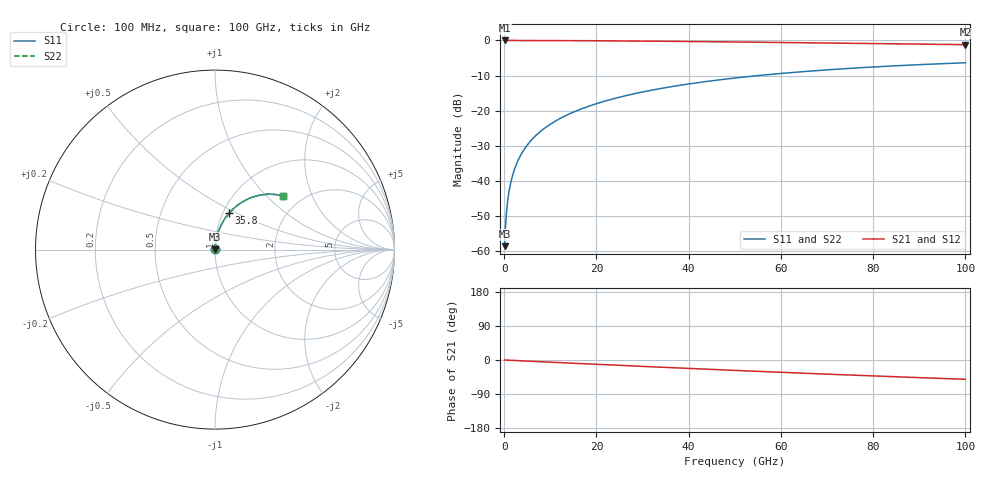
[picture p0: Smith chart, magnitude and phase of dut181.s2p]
! Touchstone file exported from HFSS 2026.1.0
!  File:  C:/ffzhzh/LocalFiles/Ansys_Project_Files/temp_train_RDL_181_1783500386_9504.aedt
!  Generated:  04:47:29 PM Jul  8, 2026
!  Design:  RDL
!  Project:  temp_train_RDL_181_1783500386_9504
! Variables:
!  h_bsmrdl = 2um
!  h_ox = 20um
!  h_rdl = 5um
!  h_sub = 80um
!  h_tmrdl = 2.6um
!  h_tsv = 80um
!  h_via = 3um
!  l_bsmrdl = 300um
!  l_sub = 512.68um
!  l_tmrdl = 112.68um
!  m_sub = 200um
!  pitch = 54.1um
!  r_tsv = 6um
!  s_tmrdl = 10um
!  w_bsmrdl = 18um
!  w_sub = 500um
!  w_tmrdl = 24.89um
!  x_tsv_center1 = 125.125um
!  x_tsv_center2 = 443.125um
!  x_tsv_center3 = 580.695um
!  x_tsv_center4 = 898.695um
!  x_tsv_center5 = 1036.265um
!  x_tsv_center6 = 1354.265um
# GHz S MA R 50.000000
! Terminal data exported
! Port[1] = TM_RDL1_1_T1
! Port[2] = TM_RDL1_1_T2
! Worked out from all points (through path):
!   1000 points, 100 MHz to 100 GHz, reference 50 ohm
!   highest |S21| = -0.01 dB at 100 MHz (marker M1); lowest = -1.2 dB at 100 GHz (marker M2)
!   group delay of S21, straight-line fit = 1.42 ps
!   lowest |S11| = -58.5 dB at 100 MHz (marker M3), VSWR 1.00, Z = 50.1 + j0.0706 ohm
!   |S11| at or under -10 dB: start of sweep to 55.05 GHz
!   |S22| runs from -58.5 to -6.4 dB; largest |S21 - S12| = 4.4e-15
!   S11 on the Smith chart (normalised r, x): 100 MHz: 1.00, +0.00; 35.8 GHz: 1.07, +0.46; 100 GHz: 1.61, +1.25
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0.1  0.001186 36.4  0.999 -0.1  0.999 -0.1  0.001186 36.4
! Gamma 0 0 0 0
! Port Impedance 50 0 50 0
0.3  0.002314 63.7  0.999 -0.2  0.999 -0.2  0.002314 63.7
0.7  0.004827 76.0  0.9989 -0.4  0.9989 -0.4  0.004827 76.0
0.9  0.006092 78.4  0.9988 -0.5  0.9988 -0.5  0.006092 78.4
1.2  0.008 80.6  0.9988 -0.7  0.9988 -0.7  0.008 80.6
1.5  0.009919 82.0  0.9987 -0.9  0.9987 -0.9  0.009919 82.0
2  0.01313 83.3  0.9986 -1.2  0.9986 -1.2  0.01313 83.3
2.5  0.01635 84.0  0.9986 -1.4  0.9986 -1.4  0.01635 84.0
3.2  0.02086 84.4  0.9984 -1.9  0.9984 -1.9  0.02086 84.4
4  0.02601 84.6  0.9982 -2.3  0.9982 -2.3  0.02601 84.6
5  0.03244 84.5  0.998 -2.9  0.998 -2.9  0.03244 84.5
6.1  0.03949 84.1  0.9976 -3.5  0.9976 -3.5  0.03949 84.1
8.9  0.05731 83.0  0.9964 -5.1  0.9964 -5.1  0.05731 83.0
12.4  0.07932 81.2  0.9945 -7.1  0.9945 -7.1  0.07932 81.2
16.8  0.1065 78.9  0.9915 -9.6  0.9915 -9.6  0.1065 78.9
24.2  0.1511 75.0  0.985 -13.7  0.985 -13.7  0.1511 75.0
33.4  0.2041 70.1  0.9748 -18.7  0.9748 -18.7  0.2041 70.1
35.8  0.2175 68.9  0.9718 -20.0  0.9718 -20.0  0.2175 68.9
50.1  0.2924 61.5  0.9514 -27.5  0.9514 -27.5  0.2924 61.6
66.7  0.3679 53.4  0.9245 -35.8  0.9245 -35.8  0.3679 53.4
83.4  0.431 45.7  0.8967 -43.6  0.8967 -43.6  0.431 45.7
100  0.481 38.4  0.8708 -50.9  0.8708 -50.9  0.481 38.5
